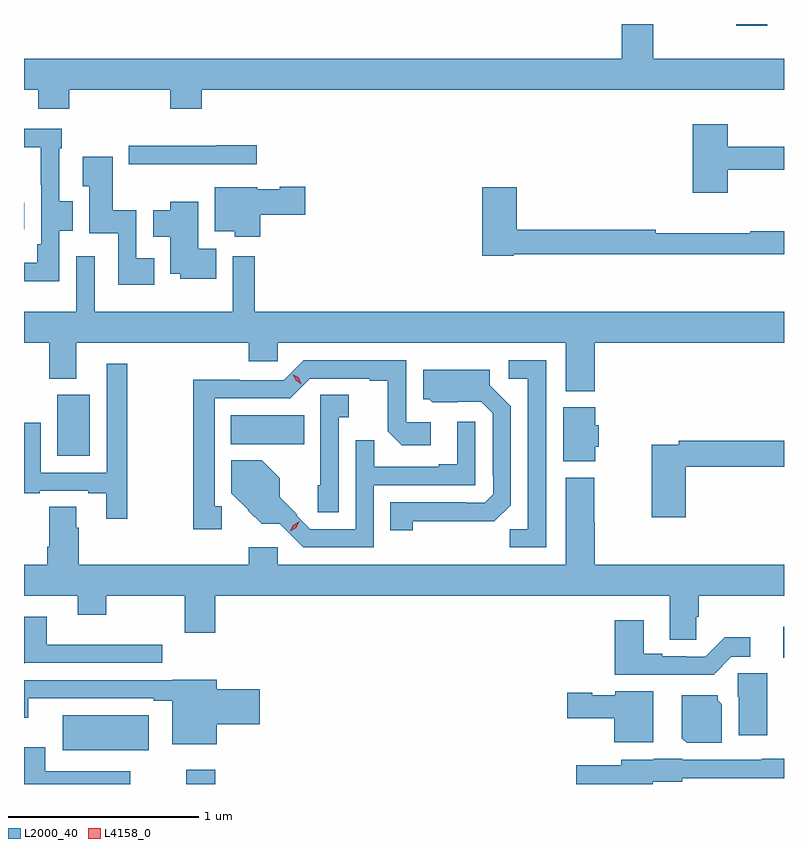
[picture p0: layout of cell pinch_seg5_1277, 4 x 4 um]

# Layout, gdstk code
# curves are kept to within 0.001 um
import gdstk
lib = gdstk.Library(unit=1e-6, precision=1e-09)
def R(c, l, rs):  # rectangles x0, y0, x1, y1
    for r in rs: c.add(gdstk.rectangle(r[:2], r[2:], *l))
def P(c, l, *ps):  # polygons
    for p in ps: c.add(gdstk.Polygon(p, *l))
L2000_40 = (2000, 40)
L4158_0 = (4158, 0)

pinch_seg5_1277 = lib.new_cell('pinch_seg5_1277')
R(pinch_seg5_1277, L2000_40, [(371.345,843.782,371.498,843.856), (374.486,844.446,374.491,844.609), (370.667,845.51,370.837,845.83), (371.579,845.57,371.966,845.722), (370.491,846.701,370.492,846.841), (374.24,847.772,374.403,847.782)])
P(pinch_seg5_1277, L2000_40, [(370.73,847.436),(371.261,847.436),(371.261,847.337),(371.426,847.337),(371.426,847.436),(374.491,847.436),(374.491,847.6),(373.802,847.6),(373.802,847.782),(373.637,847.782),(373.637,847.6),(370.491,847.6),(370.491,847.436),(370.565,847.436),(370.565,847.337),(370.73,847.337)],
  [(374.195,847.014),(374.491,847.014),(374.491,847.135),(374.195,847.135),(374.195,847.255),(374.012,847.255),(374.012,846.894),(374.195,846.894)],
  [(370.677,846.694),(370.747,846.694),(370.747,846.849),(370.677,846.849),(370.677,847.127),(370.69,847.127),(370.69,847.23),(370.491,847.23),(370.491,847.134),(370.58,847.134),(370.58,846.937),(370.581,846.937),(370.581,846.622),(370.561,846.622),(370.561,846.526),(370.491,846.526),(370.491,846.428),(370.677,846.428)],
  [(371.399,847.044),(371.716,847.044),(371.716,847.145),(371.503,847.145),(371.503,847.142),(371.043,847.142),(371.043,847.043),(371.399,847.043)],
  [(371.176,846.55),(371.082,846.55),(371.082,846.802),(370.957,846.802),(370.957,847.084),(370.799,847.084),(370.799,846.928),(370.835,846.928),(370.835,846.68),(370.986,846.68),(370.986,846.41),(371.176,846.41)],
  [(371.735,846.779),(371.971,846.779),(371.971,846.926),(371.838,846.926),(371.838,846.913),(371.718,846.913),(371.718,846.922),(371.495,846.922),(371.495,846.692),(371.6,846.692),(371.6,846.662),(371.735,846.662)],
  [(373.068,846.57),(374.491,846.57),(374.491,846.691),(374.314,846.691),(374.314,846.68),(373.817,846.68),(373.817,846.698),(373.085,846.698),(373.085,846.922),(372.902,846.922),(372.902,846.562),(373.068,846.562)],
  [(371.504,846.598),(371.407,846.598),(371.407,846.847),(371.261,846.847),(371.261,846.802),(371.171,846.802),(371.171,846.662),(371.261,846.662),(371.261,846.467),(371.313,846.467),(371.313,846.44),(371.504,846.44)],
  [(373.496,846.104),(374.491,846.104),(374.491,846.268),(371.705,846.268),(371.705,846.559),(371.589,846.559),(371.589,846.268),(370.863,846.268),(370.863,846.559),(370.767,846.559),(370.767,846.268),(370.491,846.268),(370.491,846.104),(370.625,846.104),(370.625,845.915),(370.765,845.915),(370.765,846.104),(371.675,846.104),(371.675,846.006),(371.826,846.006),(371.826,846.104),(373.343,846.104),(373.343,845.849),(373.496,845.849)],
  [(373.239,846.012),(373.041,846.012),(373.041,845.916),(373.143,845.916),(373.143,845.123),(373.047,845.123),(373.047,845.028),(373.239,845.028)],
  [(371.532,845.244),(371.494,845.244),(371.494,845.811),(371.891,845.811),(371.996,845.916),(372.311,845.916),(372.311,845.904),(372.405,845.904),(372.405,845.639),(372.48,845.564),(372.631,845.564),(372.631,845.685),(372.504,845.685),(372.504,846.012),(371.964,846.012),(371.859,845.907),(371.627,845.907),(371.627,845.909),(371.383,845.909),(371.383,845.124),(371.532,845.124)],
  [(371.035,845.995),(370.926,845.995),(370.926,845.421),(370.579,845.421),(370.579,845.683),(370.491,845.683),(370.491,845.313),(370.573,845.313),(370.573,845.325),(370.829,845.325),(370.829,845.313),(370.925,845.313),(370.925,845.178),(371.035,845.178)],
  [(372.537,845.164),(372.967,845.164),(373.053,845.25),(373.053,845.77),(372.943,845.88),(372.943,845.962),(372.593,845.962),(372.593,845.808),(372.624,845.808),(372.64,845.792),(372.897,845.793),(372.957,845.733),(372.957,845.407),(372.96,845.407),(372.96,845.307),(372.915,845.262),(372.815,845.262),(372.815,845.265),(372.418,845.265),(372.418,845.118),(372.537,845.118)],
  [(372.147,845.713),(372.199,845.713),(372.199,845.831),(372.051,845.831),(372.051,845.355),(372.037,845.355),(372.037,845.211),(372.147,845.211)],
  [(373.498,845.556),(373.516,845.556),(373.516,845.67),(373.498,845.67),(373.498,845.764),(373.328,845.764),(373.328,845.48),(373.498,845.48)],
  [(372.333,845.355),(372.867,845.355),(372.867,845.689),(372.77,845.689),(372.77,845.464),(372.674,845.464),(372.674,845.451),(372.335,845.451),(372.335,845.59),(372.237,845.59),(372.237,845.124),(371.997,845.124),(371.925,845.196),(371.928,845.199),(371.836,845.291),(371.836,845.39),(371.741,845.485),(371.582,845.485),(371.582,845.313),(371.67,845.225),(371.668,845.224),(371.741,845.151),(371.837,845.151),(371.96,845.028),(372.333,845.028)],
  [(373.973,845.452),(374.491,845.452),(374.491,845.588),(373.936,845.588),(373.936,845.568),(373.795,845.568),(373.795,845.187),(373.973,845.187)],
  [(374.028,844.662),(374.042,844.662),(374.042,844.772),(374.491,844.772),(374.491,844.936),(373.496,844.936),(373.496,845.16),(373.491,845.16),(373.491,845.395),(373.343,845.395),(373.343,844.936),(371.826,844.936),(371.826,845.029),(371.675,845.029),(371.675,844.936),(370.778,844.936),(370.778,845.132),(370.765,845.132),(370.765,845.24),(370.625,845.24),(370.625,845.032),(370.613,845.032),(370.613,844.936),(370.491,844.936),(370.491,844.772),(370.775,844.772),(370.775,844.673),(370.923,844.673),(370.923,844.772),(371.338,844.772),(371.338,844.578),(371.498,844.578),(371.498,844.772),(373.889,844.772),(373.889,844.54),(374.028,844.54)],
  [(370.494,844.419),(371.218,844.419),(371.218,844.516),(370.612,844.516),(370.612,844.663),(370.491,844.663),(370.491,844.418),(370.494,844.418)],
  [(374.214,844.452),(374.314,844.452),(374.314,844.555),(374.179,844.555),(374.076,844.452),(373.976,844.452),(373.976,844.455),(373.849,844.455),(373.849,844.468),(373.753,844.468),(373.753,844.645),(373.601,844.645),(373.601,844.358),(374.12,844.358)],
  [(374.404,844.365),(374.248,844.365),(374.248,844.242),(374.252,844.242),(374.252,844.038),(374.404,844.038)],
  [(371.506,844.097),(371.731,844.097),(371.731,844.28),(371.506,844.28),(371.506,844.332),(371.274,844.332),(371.274,844.329),(370.491,844.329),(370.491,844.13),(370.513,844.13),(370.513,844.233),(371.174,844.233),(371.174,844.22),(371.27,844.22),(371.27,843.992),(371.506,843.992)],
  [(373.804,844.27),(373.602,844.27),(373.602,844.249),(373.482,844.249),(373.482,844.262),(373.35,844.262),(373.35,844.127),(373.598,844.127),(373.598,844.001),(373.804,844.001)],
  [(374.164,844.202),(374.142,844.224),(374.142,844.249),(373.952,844.249),(373.952,844.024),(373.978,843.998),(374.164,843.998)],
  [(371.148,844.143),(371.045,844.143),(371.045,844.144),(370.694,844.144),(370.694,843.959),(371.148,843.959)],
  [(371.05,843.849),(370.603,843.849),(370.603,843.976),(370.491,843.976),(370.491,843.782),(371.05,843.782)],
  [(373.799,843.794),(373.956,843.794),(373.956,843.813),(374.373,843.813),(374.373,843.812),(374.491,843.812),(374.491,843.916),(374.373,843.916),(374.373,843.909),(373.956,843.909),(373.956,843.916),(373.806,843.916),(373.806,843.91),(373.634,843.91),(373.634,843.88),(373.398,843.88),(373.398,843.782),(373.799,843.782)])
P(pinch_seg5_1277, L4158_0, [(371.95,845.886),(371.92,845.906),(371.906,845.938),(371.906,845.938),(371.906,845.938),(371.936,845.919),(371.95,845.886),(371.95,845.886)],
  [(371.892,845.113),(371.892,845.114),(371.909,845.145),(371.94,845.164),(371.94,845.164),(371.94,845.163),(371.923,845.131),(371.892,845.113)])

lib.write_gds('pinch_seg5_1277.gds')
